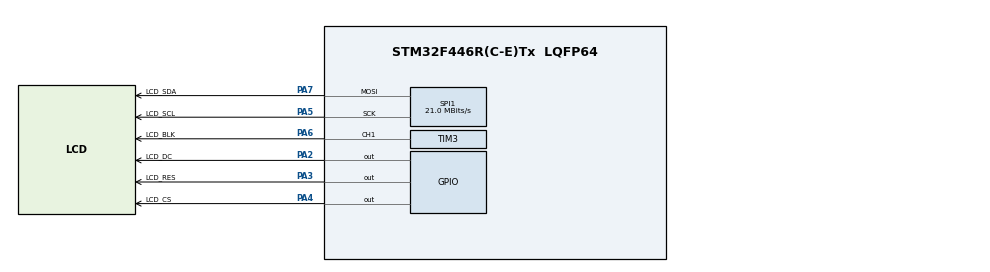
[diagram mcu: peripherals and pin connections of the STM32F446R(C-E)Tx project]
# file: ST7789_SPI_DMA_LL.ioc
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Dma.Request0=SPI1_TX
Dma.SPI1_TX.0.Direction=DMA_MEMORY_TO_PERIPH
Dma.SPI1_TX.0.FIFOMode=DMA_FIFOMODE_DISABLE
Dma.SPI1_TX.0.Instance=DMA2_Stream3
Dma.SPI1_TX.0.MemDataAlignment=DMA_MDATAALIGN_HALFWORD
Dma.SPI1_TX.0.MemInc=DMA_MINC_ENABLE
Dma.SPI1_TX.0.Mode=DMA_NORMAL
Dma.SPI1_TX.0.PeriphDataAlignment=DMA_PDATAALIGN_HALFWORD
Dma.SPI1_TX.0.PeriphInc=DMA_PINC_DISABLE
Dma.SPI1_TX.0.Priority=DMA_PRIORITY_LOW
Mcu.Family=STM32F4
Mcu.Name=STM32F446R(C-E)Tx
Mcu.Package=LQFP64
NVIC.DMA2_Stream3_IRQn=true\:0\:0\:false\:false\:true\:false\:true\:true
NVIC.PriorityGroup=NVIC_PRIORITYGROUP_4
PA13.Mode=Serial_Wire
PA13.Signal=SYS_JTMS-SWDIO
PA14.Mode=Serial_Wire
PA14.Signal=SYS_JTCK-SWCLK
PA2.GPIO_Label=LCD_DC
PA2.GPIO_Speed=GPIO_SPEED_FREQ_HIGH
PA2.Signal=GPIO_Output
PA3.GPIO_Label=LCD_RES
PA3.GPIO_Speed=GPIO_SPEED_FREQ_HIGH
PA3.Signal=GPIO_Output
PA4.GPIO_Label=LCD_CS
PA4.GPIO_Speed=GPIO_SPEED_FREQ_HIGH
PA4.Signal=GPIO_Output
PA5.GPIO_Label=LCD_SCL
PA5.GPIO_PuPd=GPIO_NOPULL
PA5.Mode=TX_Only_Simplex_Unidirect_Master
PA5.Signal=SPI1_SCK
PA6.GPIO_Label=LCD_BLK
PA6.Signal=S_TIM3_CH1
PA7.GPIO_Label=LCD_SDA
PA7.GPIO_PuPd=GPIO_NOPULL
PA7.Mode=TX_Only_Simplex_Unidirect_Master
PA7.Signal=SPI1_MOSI
PH0-OSC_IN.Mode=HSE-External-Oscillator
PH0-OSC_IN.Signal=RCC_OSC_IN
PH1-OSC_OUT.Mode=HSE-External-Oscillator
PH1-OSC_OUT.Signal=RCC_OSC_OUT
ProjectManager.HeapSize=0x200
ProjectManager.StackSize=0x400
ProjectManager.TargetToolchain=STM32CubeIDE
RCC.AHBFreq_Value=84000000
RCC.APB1CLKDivider=RCC_HCLK_DIV2
RCC.APB1Freq_Value=42000000
RCC.APB1TimFreq_Value=84000000
RCC.APB2Freq_Value=84000000
RCC.APB2TimFreq_Value=84000000
RCC.CortexFreq_Value=84000000
RCC.HCLKFreq_Value=84000000
RCC.HSE_VALUE=20000000
RCC.PLLM=8
RCC.PLLN=84
RCC.SYSCLKFreq_VALUE=84000000
RCC.SYSCLKSource=RCC_SYSCLKSOURCE_PLLCLK
RCC.USBFreq_Value=84000000
RCC.VCOOutputFreq_Value=168000000
SH.S_TIM3_CH1.0=TIM3_CH1,PWM Generation1 CH1
SPI1.BaudRatePrescaler=SPI_BAUDRATEPRESCALER_4
SPI1.CLKPolarity=SPI_POLARITY_HIGH
SPI1.CalculateBaudRate=21.0 MBits/s
SPI1.DataSize=SPI_DATASIZE_8BIT
SPI1.Direction=SPI_DIRECTION_2LINES
SPI1.Mode=SPI_MODE_MASTER
SPI1.VirtualType=VM_MASTER
TIM3.Channel-PWM\ Generation1\ CH1=TIM_CHANNEL_1
TIM3.Period=210-1
TIM3.Prescaler=1000-1
TIM3.Pulse-PWM\ Generation1\ CH1=0
board=custom

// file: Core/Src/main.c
/* USER CODE BEGIN Header */
/**
  ******************************************************************************
  * @file           : main.c
  * @brief          : Main program body
  ******************************************************************************
  * @attention
  *
  * Copyright (c) 2025 STMicroelectronics.
  * All rights reserved.
  *
  * This software is licensed under terms that can be found in the LICENSE file
  * in the root directory of this software component.
  * If no LICENSE file comes with this software, it is provided AS-IS.
  *
  ******************************************************************************
  */
/* USER CODE END Header */
#include "main.h"

/* USER CODE BEGIN Includes */
#include "display.h"
#include "st7789.h"
#include "ili9341.h"
#include "stdlib.h"
/* USER CODE END Includes */

/* USER CODE BEGIN PV */
volatile uint32_t millis = 0;
char buffer[16];
/* USER CODE END PV */

void SystemClock_Config(void);
static void MX_GPIO_Init(void);
static void MX_DMA_Init(void);
static void MX_SPI1_Init(void);
static void MX_TIM3_Init(void);

int main(void)
{

  /* USER CODE BEGIN 1 */
	/* включаем кэширование инструкций */
	#if (INSTRUCTION_CACHE_ENABLE != 0U)
		((FLASH_TypeDef *) ((0x40000000UL + 0x00020000UL) + 0x3C00UL))->ACR |= (0x1UL << (9U));
	#endif
	/* включаем кэширование данных */
	#if (DATA_CACHE_ENABLE != 0U)
		((FLASH_TypeDef *) ((0x40000000UL + 0x00020000UL) + 0x3C00UL))->ACR |= (0x1UL << (10U));
	#endif
	/* включаем систему предварительной выборки инструкций*/
	#if (PREFETCH_ENABLE != 0U)
		((FLASH_TypeDef *) ((0x40000000UL + 0x00020000UL) + 0x3C00UL))->ACR |= (0x1UL << (8U));
	#endif

  /* USER CODE END 1 */

  /* MCU Configuration--------------------------------------------------------*/

  /* Reset of all peripherals, Initializes the Flash interface and the Systick. */
  LL_APB2_GRP1_EnableClock(LL_APB2_GRP1_PERIPH_SYSCFG);
  LL_APB1_GRP1_EnableClock(LL_APB1_GRP1_PERIPH_PWR);

  /* System interrupt init*/
  NVIC_SetPriorityGrouping(NVIC_PRIORITYGROUP_4);

  /* SysTick_IRQn interrupt configuration */
  NVIC_SetPriority(SysTick_IRQn, NVIC_EncodePriority(NVIC_GetPriorityGrouping(),15, 0));

  /* Configure the system clock */
  SystemClock_Config();

  /* USER CODE BEGIN SysInit */
  //SystemCoreClockUpdate();
  SysTick_Config(SystemCoreClock/1000);

  /* USER CODE END SysInit */

  /* Initialize all configured peripherals */
  MX_GPIO_Init();
  MX_DMA_Init();
  MX_SPI1_Init();
  MX_TIM3_Init();
  /* USER CODE BEGIN 2 */
  LCD_DMA_TypeDef dma_tx = { DMA2,
		  	  	  	  	     LL_DMA_STREAM_3 };

  LCD_BackLight_data bkl_data = { TIM3,
		  	  	  	  	  	  	  LL_TIM_CHANNEL_CH1,
								  0,
								  0,
								  50};

  LCD_SPI_Connected_data spi_con = { SPI1,
		  	  	  	  	  	  	  	 dma_tx,
									 LCD_RES_GPIO_Port,
									 LCD_RES_Pin,
									 LCD_DC_GPIO_Port,
									 LCD_DC_Pin,
									 LCD_CS_GPIO_Port,
								 	 LCD_CS_Pin         };

#ifndef LCD_DYNAMIC_MEM
  LCD_Handler lcd1;
#endif

/*  Для дисплея на контроллере ST7789   */
  LCD = LCD_DisplayAdd( LCD,
#ifndef LCD_DYNAMIC_MEM
		  	  	  	  	&lcd1,
#endif
		  	  	  	  	170,//135//170
		   				320,//240//320
						ST7789_CONTROLLER_WIDTH,
						ST7789_CONTROLLER_HEIGHT,
						//Задаем смещение по ширине и высоте для нестандартных или бракованных дисплеев:
						-35,		//смещение по ширине дисплейной матрицы  -35//-53
						  0,		//смещение по высоте дисплейной матрицы    0// 40
						PAGE_ORIENTATION_LANDSCAPE,
						ST7789_Init,
						ST7789_SetWindow,
						ST7789_SleepIn,
						ST7789_SleepOut,
						&spi_con,
						LCD_DATA_16BIT_BUS,
						bkl_data );
  /*  Для дисплея на контроллере ILI9341   */
/*
  LCD = LCD_DisplayAdd( LCD,
#ifndef LCD_DYNAMIC_MEM
		  	  	  	  	&lcd1,
#endif
		  	  	  	  	320,
		   				240,
						ILI9341_CONTROLLER_WIDTH,
						ILI9341_CONTROLLER_HEIGHT,
						//Задаем смещение по ширине и высоте для нестандартных или бракованных дисплеев:
						0,		//смещение по ширине дисплейной матрицы
						0,		//смещение по высоте дисплейной матрицы
						//PAGE_ORIENTATION_PORTRAIT_MIRROR,
						PAGE_ORIENTATION_LANDSCAPE,
						ILI9341_Init,
						ILI9341_SetWindow,
						ILI9341_SleepIn,
						ILI9341_SleepOut,
						&spi_con,
						LCD_DATA_16BIT_BUS,
						bkl_data );
*/
  LCD_Handler *lcd = LCD; //указатель на первый дисплей в списке
  LCD_Init(lcd);
  LCD_Fill(lcd, COLOR_BLUE);
  LCD_WriteString(lcd, 0, 0, "Hello, mundo!", &Font_15x25, COLOR_YELLOW, COLOR_BLUE, LCD_SYMBOL_PRINT_FAST);LL_mDelay(1000);
  LCD_WriteString(lcd, 0, 40, "Anglas, funcionaaa!", &Font_15x25, COLOR_BLUE, COLOR_YELLOW, LCD_SYMBOL_PRINT_FAST);LL_mDelay(1000);
  LCD_WriteString(lcd, 0, 80, "Giovanny, funcionaaa!", &Font_15x25, COLOR_WHITE, COLOR_BLACK, LCD_SYMBOL_PRINT_FAST);LL_mDelay(1000);
  //LL_mDelay(1000);

  /* USER CODE END 2 */

  /* Infinite loop */
  /* USER CODE BEGIN WHILE */
  uint32_t tick;
  uint32_t frames;
  char buff[10];
  uint8_t r = 0, g = 0, b = 0;
  while (1)
  {
  	  frames = 0;
  	  tick = millis;
  	  while (millis - tick < 1000)
  	  {
  		  LCD_Fill(lcd, (r << 16) | (g << 8) | b);

  		  r++;
  		  g += 2;
  		  b += 4;

  		  /* задержка */
  		  /*
  		  for (uint32_t i = 0; i<100000; i++)
		  {
			  __NOP();
		  }
  		  */
  		  frames++;
  	  }
  	  utoa(frames, buff, 10);
  	  LCD_WriteString(lcd, 0, 0, buff, &Font_15x25, COLOR_YELLOW, COLOR_BLUE, LCD_SYMBOL_PRINT_FAST);
  	  LL_mDelay(1000);
  }

  while (1){
    /* USER CODE END WHILE */

  }
}

void SystemClock_Config(void)
{
  LL_FLASH_SetLatency(LL_FLASH_LATENCY_2);
  while(LL_FLASH_GetLatency()!= LL_FLASH_LATENCY_2)
  {
  }
  LL_PWR_SetRegulVoltageScaling(LL_PWR_REGU_VOLTAGE_SCALE3);
  LL_PWR_DisableOverDriveMode();
  LL_RCC_HSI_SetCalibTrimming(16);
  LL_RCC_HSI_Enable();

   /* Wait till HSI is ready */
  while(LL_RCC_HSI_IsReady() != 1)
  {

  }
  LL_RCC_PLL_ConfigDomain_SYS(LL_RCC_PLLSOURCE_HSI, LL_RCC_PLLM_DIV_8, 84, LL_RCC_PLLP_DIV_2);
  LL_RCC_PLL_Enable();

   /* Wait till PLL is ready */
  while(LL_RCC_PLL_IsReady() != 1)
  {

  }
  while (LL_PWR_IsActiveFlag_VOS() == 0)
  {
  }
  LL_RCC_SetAHBPrescaler(LL_RCC_SYSCLK_DIV_1);
  LL_RCC_SetAPB1Prescaler(LL_RCC_APB1_DIV_2);
  LL_RCC_SetAPB2Prescaler(LL_RCC_APB2_DIV_1);
  LL_RCC_SetSysClkSource(LL_RCC_SYS_CLKSOURCE_PLL);

   /* Wait till System clock is ready */
  while(LL_RCC_GetSysClkSource() != LL_RCC_SYS_CLKSOURCE_STATUS_PLL)
  {

  }
  LL_Init1msTick(84000000);
  LL_SetSystemCoreClock(84000000);
  LL_RCC_SetTIMPrescaler(LL_RCC_TIM_PRESCALER_TWICE);
}

static void MX_SPI1_Init(void)
{

  LL_SPI_InitTypeDef SPI_InitStruct = {0};

  LL_GPIO_InitTypeDef GPIO_InitStruct = {0};

  /* Peripheral clock enable */
  LL_APB2_GRP1_EnableClock(LL_APB2_GRP1_PERIPH_SPI1);

  LL_AHB1_GRP1_EnableClock(LL_AHB1_GRP1_PERIPH_GPIOA);
  /**SPI1 GPIO Configuration
  PA5   ------> SPI1_SCK
  PA7   ------> SPI1_MOSI
  */
  GPIO_InitStruct.Pin = LCD_SCL_Pin|LCD_SDA_Pin;
  GPIO_InitStruct.Mode = LL_GPIO_MODE_ALTERNATE;
  GPIO_InitStruct.Speed = LL_GPIO_SPEED_FREQ_VERY_HIGH;
  GPIO_InitStruct.OutputType = LL_GPIO_OUTPUT_PUSHPULL;
  GPIO_InitStruct.Pull = LL_GPIO_PULL_NO;
  GPIO_InitStruct.Alternate = LL_GPIO_AF_5;
  LL_GPIO_Init(GPIOA, &GPIO_InitStruct);

  /* SPI1 DMA Init */

  /* SPI1_TX Init */
  LL_DMA_SetChannelSelection(DMA2, LL_DMA_STREAM_3, LL_DMA_CHANNEL_3);

  LL_DMA_SetDataTransferDirection(DMA2, LL_DMA_STREAM_3, LL_DMA_DIRECTION_MEMORY_TO_PERIPH);

  LL_DMA_SetStreamPriorityLevel(DMA2, LL_DMA_STREAM_3, LL_DMA_PRIORITY_LOW);

  LL_DMA_SetMode(DMA2, LL_DMA_STREAM_3, LL_DMA_MODE_NORMAL);

  LL_DMA_SetPeriphIncMode(DMA2, LL_DMA_STREAM_3, LL_DMA_PERIPH_NOINCREMENT);

  LL_DMA_SetMemoryIncMode(DMA2, LL_DMA_STREAM_3, LL_DMA_MEMORY_INCREMENT);

  LL_DMA_SetPeriphSize(DMA2, LL_DMA_STREAM_3, LL_DMA_PDATAALIGN_HALFWORD);

  LL_DMA_SetMemorySize(DMA2, LL_DMA_STREAM_3, LL_DMA_MDATAALIGN_HALFWORD);

  LL_DMA_DisableFifoMode(DMA2, LL_DMA_STREAM_3);

  /* SPI1 parameter configuration*/
  SPI_InitStruct.TransferDirection = LL_SPI_FULL_DUPLEX;
  SPI_InitStruct.Mode = LL_SPI_MODE_MASTER;
  SPI_InitStruct.DataWidth = LL_SPI_DATAWIDTH_8BIT;
  SPI_InitStruct.ClockPolarity = LL_SPI_POLARITY_HIGH;
  SPI_InitStruct.ClockPhase = LL_SPI_PHASE_1EDGE;
  SPI_InitStruct.NSS = LL_SPI_NSS_SOFT;
  SPI_InitStruct.BaudRate = LL_SPI_BAUDRATEPRESCALER_DIV4;
  SPI_InitStruct.BitOrder = LL_SPI_MSB_FIRST;
  SPI_InitStruct.CRCCalculation = LL_SPI_CRCCALCULATION_DISABLE;
  SPI_InitStruct.CRCPoly = 10;
  LL_SPI_Init(SPI1, &SPI_InitStruct);
  LL_SPI_SetStandard(SPI1, LL_SPI_PROTOCOL_MOTOROLA);

}

static void MX_TIM3_Init(void)
{

  LL_TIM_InitTypeDef TIM_InitStruct = {0};
  LL_TIM_OC_InitTypeDef TIM_OC_InitStruct = {0};

  LL_GPIO_InitTypeDef GPIO_InitStruct = {0};

  /* Peripheral clock enable */
  LL_APB1_GRP1_EnableClock(LL_APB1_GRP1_PERIPH_TIM3);

  TIM_InitStruct.Prescaler = 999;
  TIM_InitStruct.CounterMode = LL_TIM_COUNTERMODE_UP;
  TIM_InitStruct.Autoreload = 210-LL_TIM_IC_FILTER_FDIV1_N2;
  TIM_InitStruct.ClockDivision = LL_TIM_CLOCKDIVISION_DIV1;
  LL_TIM_Init(TIM3, &TIM_InitStruct);
  LL_TIM_DisableARRPreload(TIM3);
  LL_TIM_OC_EnablePreload(TIM3, LL_TIM_CHANNEL_CH1);
  TIM_OC_InitStruct.OCMode = LL_TIM_OCMODE_PWM1;
  TIM_OC_InitStruct.OCState = LL_TIM_OCSTATE_DISABLE;
  TIM_OC_InitStruct.OCNState = LL_TIM_OCSTATE_DISABLE;
  TIM_OC_InitStruct.CompareValue = 0;
  TIM_OC_InitStruct.OCPolarity = LL_TIM_OCPOLARITY_HIGH;
  LL_TIM_OC_Init(TIM3, LL_TIM_CHANNEL_CH1, &TIM_OC_InitStruct);
  LL_TIM_OC_DisableFast(TIM3, LL_TIM_CHANNEL_CH1);
  LL_TIM_SetTriggerOutput(TIM3, LL_TIM_TRGO_RESET);
  LL_TIM_DisableMasterSlaveMode(TIM3);
  LL_AHB1_GRP1_EnableClock(LL_AHB1_GRP1_PERIPH_GPIOA);
  /**TIM3 GPIO Configuration
  PA6   ------> TIM3_CH1
  */
  GPIO_InitStruct.Pin = LCD_BLK_Pin;
  GPIO_InitStruct.Mode = LL_GPIO_MODE_ALTERNATE;
  GPIO_InitStruct.Speed = LL_GPIO_SPEED_FREQ_LOW;
  GPIO_InitStruct.OutputType = LL_GPIO_OUTPUT_PUSHPULL;
  GPIO_InitStruct.Pull = LL_GPIO_PULL_NO;
  GPIO_InitStruct.Alternate = LL_GPIO_AF_2;
  LL_GPIO_Init(LCD_BLK_GPIO_Port, &GPIO_InitStruct);

}

static void MX_DMA_Init(void)
{

  /* Init with LL driver */
  /* DMA controller clock enable */
  LL_AHB1_GRP1_EnableClock(LL_AHB1_GRP1_PERIPH_DMA2);

  /* DMA interrupt init */
  /* DMA2_Stream3_IRQn interrupt configuration */
  NVIC_SetPriority(DMA2_Stream3_IRQn, NVIC_EncodePriority(NVIC_GetPriorityGrouping(),0, 0));
  NVIC_EnableIRQ(DMA2_Stream3_IRQn);

}

static void MX_GPIO_Init(void)
{
  LL_GPIO_InitTypeDef GPIO_InitStruct = {0};

  /* GPIO Ports Clock Enable */
  LL_AHB1_GRP1_EnableClock(LL_AHB1_GRP1_PERIPH_GPIOH);
  LL_AHB1_GRP1_EnableClock(LL_AHB1_GRP1_PERIPH_GPIOA);

  /**/
  LL_GPIO_ResetOutputPin(GPIOA, LCD_DC_Pin|LCD_RES_Pin|LCD_CS_Pin);

  /**/
  GPIO_InitStruct.Pin = LCD_DC_Pin|LCD_RES_Pin|LCD_CS_Pin;
  GPIO_InitStruct.Mode = LL_GPIO_MODE_OUTPUT;
  GPIO_InitStruct.Speed = LL_GPIO_SPEED_FREQ_HIGH;
  GPIO_InitStruct.OutputType = LL_GPIO_OUTPUT_PUSHPULL;
  GPIO_InitStruct.Pull = LL_GPIO_PULL_NO;
  LL_GPIO_Init(GPIOA, &GPIO_InitStruct);

}

void Error_Handler(void)
{
  __disable_irq();
  while (1)
  {
  }
}
